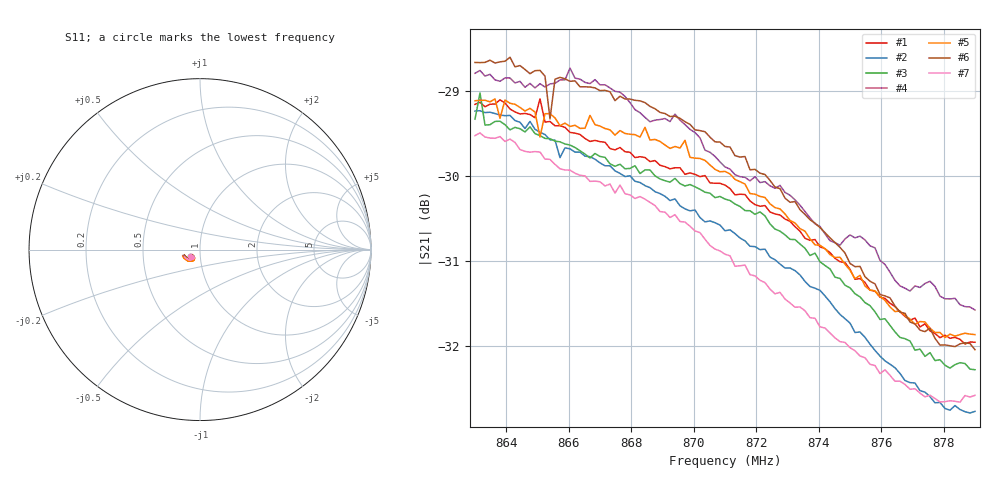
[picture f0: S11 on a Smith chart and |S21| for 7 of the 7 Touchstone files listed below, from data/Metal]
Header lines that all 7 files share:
# HZ S RI R 50
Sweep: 863 MHz to 879 MHz
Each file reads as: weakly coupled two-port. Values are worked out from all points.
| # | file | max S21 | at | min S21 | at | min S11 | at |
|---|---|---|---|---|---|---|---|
| 1 | mo32s2.s2p | -29.09 dB | 865.08 MHz | -32.0 dB | 878.68 MHz | -25.8 dB | 865.08 MHz |
| 2 | mo32s6.s2p | -29.23 dB | 863.16 MHz | -32.8 dB | 878.84 MHz | -25.5 dB | 867 MHz |
| 3 | mo32s7.s2p | -29.02 dB | 863.16 MHz | -32.3 dB | 879 MHz | -24.6 dB | 868.12 MHz |
| 4 | mo33s3.s2p | -28.73 dB | 866.04 MHz | -31.6 dB | 879 MHz | -24.1 dB | 866.04 MHz |
| 5 | mo33s5.s2p | -29.10 dB | 863.64 MHz | -31.9 dB | 878.04 MHz | -24.2 dB | 864.44 MHz |
| 6 | mo33s7.s2p | -28.60 dB | 864.12 MHz | -32.0 dB | 879 MHz | -24.0 dB | 867 MHz |
| 7 | mo33s11.s2p | -29.50 dB | 863.16 MHz | -32.7 dB | 878.52 MHz | -25.1 dB | 867.96 MHz |
